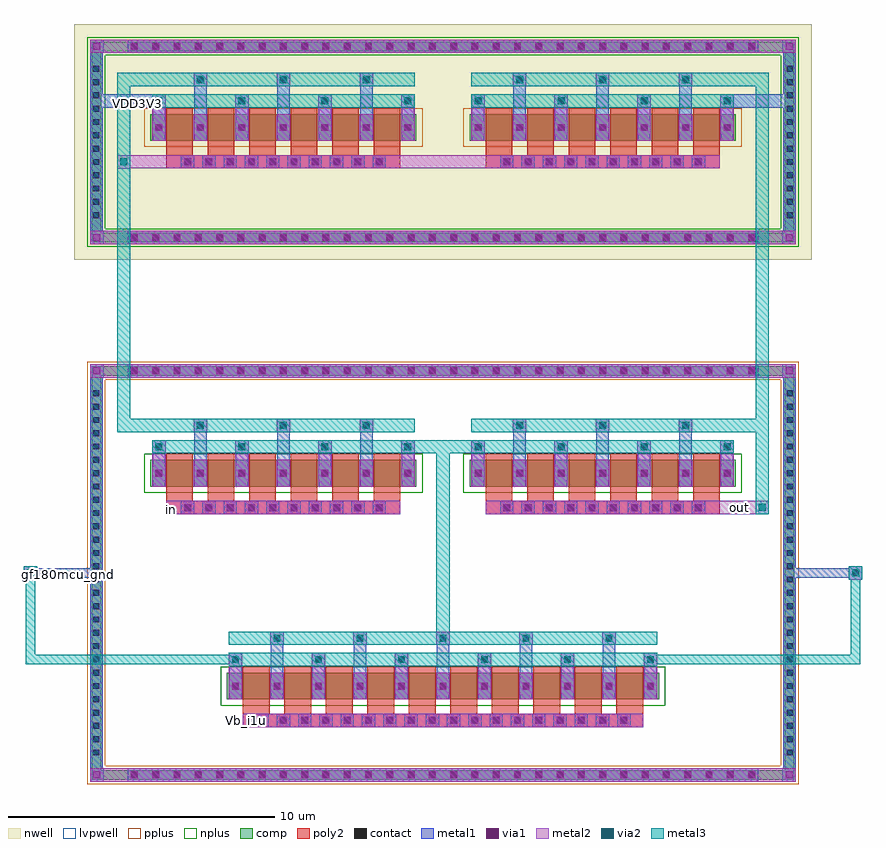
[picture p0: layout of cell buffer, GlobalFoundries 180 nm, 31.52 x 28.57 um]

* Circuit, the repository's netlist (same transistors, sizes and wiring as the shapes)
** sch_path: /foss/designs/core_pga/buffer/buffer.sch
.subckt buffer VDD3V3 gf180mcu_gnd in out Vb_i1u
*.PININFO out:O gf180mcu_gnd:B VDD3V3:B in:I Vb_i1u:B
M42 net1 net1 VDD3V3 VDD3V3 pfet_03v3 L=1u W=1u nf=1 m=6
M44 net1 in net2 gf180mcu_gnd nfet_03v3 L=1u W=1u nf=1 m=6
M46 net2 Vb_i1u gf180mcu_gnd gf180mcu_gnd nfet_03v3 L=1u W=1u nf=1 m=10
M1 out net1 VDD3V3 VDD3V3 pfet_03v3 L=1u W=1u nf=1 m=6
M2 out out net2 gf180mcu_gnd nfet_03v3 L=1u W=1u nf=1 m=6
.ends

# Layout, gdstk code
import gdstk
lib = gdstk.Library(unit=1e-6, precision=5e-09)
def R(c, l, rs):  # rectangles x0, y0, x1, y1
    for r in rs: c.add(gdstk.rectangle(r[:2], r[2:], *l))
def A(c, l, x, y, w, h, nx, ny, dx, dy):  # array of equal rectangles
    R(c, l, [(x+i*dx, y+j*dy, x+i*dx+w, y+j*dy+h) for i in range(nx) for j in range(ny)])
def P(c, l, *ps):  # polygons
    for p in ps: c.add(gdstk.Polygon(p, *l))
nwell = (21, 0)
comp = (22, 0)
poly2 = (30, 0)
pplus = (31, 0)
nplus = (32, 0)
contact = (33, 0)
metal1 = (34, 0)
via1 = (35, 0)
metal2 = (36, 0)
via2 = (38, 0)
metal3 = (42, 0)
lvpwell = (204, 0)

buffer = lib.new_cell('buffer')
R(buffer, nwell, [(-13.87,6.765,13.87,15.635), (-11.35,10.085,-0.65,13.915), (0.65,10.085,11.35,13.915)])
A(buffer, comp, -11.78, -12.775, 0.36, 0.36, 30, 2, 0.8, 15.19)
A(buffer, comp, -13.21, -11.93, 0.36, 0.36, 1, 28, 0, 0.5)
A(buffer, comp, 12.85, -11.93, 0.36, 0.36, 1, 28, 0, 0.5)
A(buffer, comp, -11.78, 7.425, 0.36, 0.36, 30, 2, 0.8, 7.19)
A(buffer, comp, -13.21, 8.27, 0.36, 0.36, 1, 12, 0, 0.5)
A(buffer, comp, 12.85, 8.27, 0.36, 0.36, 1, 12, 0, 0.5)
R(buffer, comp, [(-11.78,-12.775,11.78,-12.415), (-13.21,-11.93,-12.85,1.93), (12.85,-11.93,13.21,1.93), (-8.12,-9.755,8.12,-8.755), (-11,-1.755,-1,-0.755), (1,-1.755,11,-0.755), (-11.78,2.415,11.78,2.775), (-11.78,7.425,11.78,7.785), (-13.21,8.27,-12.85,14.13), (12.85,8.27,13.21,14.13), (-11,11.245,-1,12.245), (1,11.245,11,12.245), (-11.78,14.615,11.78,14.975)])
P(buffer, comp, [(-13.21,-12.775),(-13.21,-12.415),(-12.85,-12.415),(12.85,-12.415),(12.85,2.415),(-12.85,2.415),(-12.85,-12.415),(-13.21,-12.415),(-13.21,2.775),(13.21,2.775),(13.21,-12.775)],
  [(-13.21,7.425),(-13.21,7.785),(-12.85,7.785),(12.85,7.785),(12.85,14.615),(-12.85,14.615),(-12.85,7.785),(-13.21,7.785),(-13.21,14.975),(13.21,14.975),(13.21,7.425)])
A(buffer, poly2, -6.98, -10.725, 0.36, 0.36, 18, 1, 0.8, 0)
A(buffer, poly2, -7.52, -10.295, 1, 0.3, 10, 1, 1.56, 0)
A(buffer, poly2, -7.52, -9.995, 1, 1.48, 10, 1, 1.56, 0)
A(buffer, poly2, -9.78, -2.725, 0.36, 0.36, 10, 2, 0.8, 13)
A(buffer, poly2, 2.22, -2.725, 0.36, 0.36, 10, 2, 0.8, 13)
A(buffer, poly2, -10.4, -2.295, 1, 0.3, 6, 2, 1.56, 13)
A(buffer, poly2, 1.6, -2.295, 1, 0.3, 6, 2, 1.56, 13)
A(buffer, poly2, -10.4, -1.995, 1, 1.48, 6, 2, 1.56, 13)
A(buffer, poly2, 1.6, -1.995, 1, 1.48, 6, 2, 1.56, 13)
R(buffer, poly2, [(-7.52,-10.795,7.52,-10.295), (-10.4,-2.795,-1.6,-2.295), (1.6,-2.795,10.4,-2.295), (-10.4,10.205,-1.6,10.705), (1.6,10.205,10.4,10.705)])
R(buffer, pplus, [(-11.23,11.015,-0.77,12.475), (0.77,11.015,11.23,12.475)])
P(buffer, pplus, [(-13.37,-12.935),(-13.37,-12.255),(-12.69,-12.255),(12.69,-12.255),(12.69,2.255),(-12.69,2.255),(-12.69,-12.255),(-13.37,-12.255),(-13.37,2.935),(13.37,2.935),(13.37,-12.935)])
R(buffer, nplus, [(-8.35,-9.985,8.35,-8.525), (-11.23,-1.985,-0.77,-0.525), (0.77,-1.985,11.23,-0.525)])
P(buffer, nplus, [(-13.37,7.265),(-13.37,7.945),(-12.69,7.945),(12.69,7.945),(12.69,14.455),(-12.69,14.455),(-12.69,7.945),(-13.37,7.945),(-13.37,15.135),(13.37,15.135),(13.37,7.265)])
A(buffer, contact, -11.71, -12.705, 0.22, 0.22, 30, 2, 0.8, 15.19)
A(buffer, contact, -13.14, -11.86, 0.22, 0.22, 1, 28, 0, 0.5)
A(buffer, contact, 12.92, -11.86, 0.22, 0.22, 1, 28, 0, 0.5)
A(buffer, contact, -6.91, -10.655, 0.22, 0.22, 18, 1, 0.8, 0)
A(buffer, contact, -7.91, -9.365, 0.22, 0.22, 11, 1, 1.56, 0)
A(buffer, contact, -9.71, -2.655, 0.22, 0.22, 10, 2, 0.8, 13)
A(buffer, contact, 2.29, -2.655, 0.22, 0.22, 10, 2, 0.8, 13)
A(buffer, contact, -10.79, -1.365, 0.22, 0.22, 7, 2, 1.56, 13)
A(buffer, contact, 1.21, -1.365, 0.22, 0.22, 7, 2, 1.56, 13)
A(buffer, contact, -11.71, 7.495, 0.22, 0.22, 30, 2, 0.8, 7.19)
A(buffer, contact, -13.14, 8.34, 0.22, 0.22, 1, 12, 0, 0.5)
A(buffer, contact, 12.92, 8.34, 0.22, 0.22, 1, 12, 0, 0.5)
A(buffer, metal1, -11.85, -12.845, 0.5, 0.5, 30, 2, 0.8, 15.19)
A(buffer, metal1, -13.26, -11.98, 0.46, 0.46, 1, 28, 0, 0.5)
A(buffer, metal1, 12.8, -11.98, 0.46, 0.46, 1, 28, 0, 0.5)
A(buffer, metal1, -7.05, -10.795, 0.5, 0.5, 18, 1, 0.8, 0)
A(buffer, metal1, -8.03, -9.755, 0.46, 1, 11, 1, 1.56, 0)
A(buffer, metal1, -8.03, -9.485, 0.46, 0.46, 11, 1, 1.56, 0)
A(buffer, metal1, -8.03, -8.755, 0.46, 0.75, 6, 1, 3.12, 0)
A(buffer, metal1, -6.47, -8.755, 0.46, 1.55, 5, 1, 3.12, 0)
A(buffer, metal1, -8.05, -8.505, 0.5, 0.5, 6, 1, 3.12, 0)
A(buffer, metal1, -6.49, -7.705, 0.5, 0.5, 5, 1, 3.12, 0)
A(buffer, metal1, -9.85, -2.795, 0.5, 0.5, 10, 2, 0.8, 13)
A(buffer, metal1, 2.15, -2.795, 0.5, 0.5, 10, 2, 0.8, 13)
A(buffer, metal1, -10.91, -1.755, 0.46, 1, 7, 2, 1.56, 13)
A(buffer, metal1, 1.09, -1.755, 0.46, 1, 7, 2, 1.56, 13)
A(buffer, metal1, -10.91, -1.485, 0.46, 0.46, 7, 2, 1.56, 13)
A(buffer, metal1, 1.09, -1.485, 0.46, 0.46, 7, 2, 1.56, 13)
A(buffer, metal1, -10.91, -0.755, 0.46, 0.75, 4, 2, 3.12, 13)
A(buffer, metal1, -9.35, -0.755, 0.46, 1.55, 3, 2, 3.12, 13)
A(buffer, metal1, 1.09, -0.755, 0.46, 0.75, 4, 2, 3.12, 13)
A(buffer, metal1, 2.65, -0.755, 0.46, 1.55, 3, 2, 3.12, 13)
A(buffer, metal1, -10.93, -0.505, 0.5, 0.5, 4, 2, 3.12, 13)
A(buffer, metal1, 1.07, -0.505, 0.5, 0.5, 4, 2, 3.12, 13)
A(buffer, metal1, -9.37, 0.295, 0.5, 0.5, 3, 2, 3.12, 13)
A(buffer, metal1, 2.63, 0.295, 0.5, 0.5, 3, 2, 3.12, 13)
A(buffer, metal1, -11.85, 7.355, 0.5, 0.5, 30, 2, 0.8, 7.19)
A(buffer, metal1, -13.26, 8.22, 0.46, 0.46, 1, 12, 0, 0.5)
A(buffer, metal1, 12.8, 8.22, 0.46, 0.46, 1, 12, 0, 0.5)
R(buffer, metal1, [(-13.26,-12.845,-12.76,-12.345), (-13.26,-12.845,-12.76,-12.345), (-13.26,-12.845,-12.8,-12.415), (-11.85,-12.845,11.85,-12.345), (12.76,-12.845,13.26,-12.345), (12.76,-12.845,13.26,-12.345), (12.8,-12.845,13.26,-12.415), (-13.26,-12.415,-12.8,2.415), (12.8,-12.415,13.26,2.415), (-8.05,-9.505,-7.55,-9.005), (-8.05,-9.505,-7.55,-9.005), (-6.49,-9.505,-5.99,-9.005), (-6.49,-9.505,-5.99,-9.005), (-4.93,-9.505,-4.43,-9.005), (-4.93,-9.505,-4.43,-9.005), (-3.37,-9.505,-2.87,-9.005), (-3.37,-9.505,-2.87,-9.005), (-1.81,-9.505,-1.31,-9.005), (-1.81,-9.505,-1.31,-9.005), (-0.25,-9.505,0.25,-9.005), (-0.25,-9.505,0.25,-9.005), (1.31,-9.505,1.81,-9.005), (1.31,-9.505,1.81,-9.005), (2.87,-9.505,3.37,-9.005), (2.87,-9.505,3.37,-9.005), (4.43,-9.505,4.93,-9.005), (4.43,-9.505,4.93,-9.005), (5.99,-9.505,6.49,-9.005), (5.99,-9.505,6.49,-9.005), (7.55,-9.505,8.05,-9.005), (7.55,-9.505,8.05,-9.005), (-15.76,-5.25,-15.26,-4.75), (15.26,-5.25,15.76,-4.75), (-15.76,-5.175,-13.26,-4.825), (13.26,-5.175,15.76,-4.825), (-10.93,-1.505,-10.43,-1.005), (-10.93,-1.505,-10.43,-1.005), (-9.37,-1.505,-8.87,-1.005), (-9.37,-1.505,-8.87,-1.005), (-7.81,-1.505,-7.31,-1.005), (-7.81,-1.505,-7.31,-1.005), (-6.25,-1.505,-5.75,-1.005), (-6.25,-1.505,-5.75,-1.005), (-4.69,-1.505,-4.19,-1.005), (-4.69,-1.505,-4.19,-1.005), (-3.13,-1.505,-2.63,-1.005), (-3.13,-1.505,-2.63,-1.005), (-1.57,-1.505,-1.07,-1.005), (-1.57,-1.505,-1.07,-1.005), (1.07,-1.505,1.57,-1.005), (1.07,-1.505,1.57,-1.005), (2.63,-1.505,3.13,-1.005), (2.63,-1.505,3.13,-1.005), (4.19,-1.505,4.69,-1.005), (4.19,-1.505,4.69,-1.005), (5.75,-1.505,6.25,-1.005), (5.75,-1.505,6.25,-1.005), (7.31,-1.505,7.81,-1.005), (7.31,-1.505,7.81,-1.005), (8.87,-1.505,9.37,-1.005), (8.87,-1.505,9.37,-1.005), (10.43,-1.505,10.93,-1.005), (10.43,-1.505,10.93,-1.005), (-13.26,2.345,-12.76,2.845), (-13.26,2.345,-12.76,2.845), (-11.85,2.345,11.85,2.845), (12.76,2.345,13.26,2.845), (12.76,2.345,13.26,2.845), (-13.26,2.415,-12.8,2.845), (12.8,2.415,13.26,2.845), (-13.26,7.355,-12.76,7.855), (-13.26,7.355,-12.76,7.855), (-13.26,7.355,-12.8,7.785), (-11.85,7.355,11.85,7.855), (12.76,7.355,13.26,7.855), (12.76,7.355,13.26,7.855), (12.8,7.355,13.26,7.785), (-13.26,7.785,-12.8,14.615), (12.8,7.785,13.26,14.615), (-10.93,11.495,-10.43,11.995), (-10.93,11.495,-10.43,11.995), (-9.37,11.495,-8.87,11.995), (-9.37,11.495,-8.87,11.995), (-7.81,11.495,-7.31,11.995), (-7.81,11.495,-7.31,11.995), (-6.25,11.495,-5.75,11.995), (-6.25,11.495,-5.75,11.995), (-4.69,11.495,-4.19,11.995), (-4.69,11.495,-4.19,11.995), (-3.13,11.495,-2.63,11.995), (-3.13,11.495,-2.63,11.995), (-1.57,11.495,-1.07,11.995), (-1.57,11.495,-1.07,11.995), (1.07,11.495,1.57,11.995), (1.07,11.495,1.57,11.995), (2.63,11.495,3.13,11.995), (2.63,11.495,3.13,11.995), (4.19,11.495,4.69,11.995), (4.19,11.495,4.69,11.995), (5.75,11.495,6.25,11.995), (5.75,11.495,6.25,11.995), (7.31,11.495,7.81,11.995), (7.31,11.495,7.81,11.995), (8.87,11.495,9.37,11.995), (8.87,11.495,9.37,11.995), (10.43,11.495,10.93,11.995), (10.43,11.495,10.93,11.995), (-13.26,12.495,-10.42,12.995), (10.93,12.495,13.26,12.995), (-13.26,14.545,-12.76,15.045), (-13.26,14.545,-12.76,15.045), (-11.85,14.545,11.85,15.045), (12.76,14.545,13.26,15.045), (12.76,14.545,13.26,15.045), (-13.26,14.615,-12.8,15.045), (12.8,14.615,13.26,15.045)])
A(buffer, via1, -11.73, -12.725, 0.26, 0.26, 30, 2, 0.8, 15.19)
A(buffer, via1, -6.93, -10.675, 0.26, 0.26, 18, 1, 0.8, 0)
A(buffer, via1, -7.93, -9.385, 0.26, 0.26, 11, 1, 1.56, 0)
A(buffer, via1, -7.93, -8.385, 0.26, 0.26, 6, 1, 3.12, 0)
A(buffer, via1, -6.37, -7.585, 0.26, 0.26, 5, 1, 3.12, 0)
A(buffer, via1, -9.73, -2.675, 0.26, 0.26, 10, 2, 0.8, 13)
A(buffer, via1, 2.27, -2.675, 0.26, 0.26, 10, 2, 0.8, 13)
A(buffer, via1, -10.81, -1.385, 0.26, 0.26, 7, 2, 1.56, 13)
A(buffer, via1, 1.19, -1.385, 0.26, 0.26, 7, 2, 1.56, 13)
A(buffer, via1, -10.81, -0.385, 0.26, 0.26, 4, 2, 3.12, 13)
A(buffer, via1, 1.19, -0.385, 0.26, 0.26, 4, 2, 3.12, 13)
A(buffer, via1, -9.25, 0.415, 0.26, 0.26, 3, 2, 3.12, 13)
A(buffer, via1, 2.75, 0.415, 0.26, 0.26, 3, 2, 3.12, 13)
A(buffer, via1, -11.73, 7.475, 0.26, 0.26, 30, 2, 0.8, 7.19)
R(buffer, via1, [(-13.14,-12.725,-12.88,-12.465), (12.88,-12.725,13.14,-12.465), (-15.64,-5.13,-15.38,-4.87), (15.38,-5.13,15.64,-4.87), (-13.14,2.465,-12.88,2.725), (12.88,2.465,13.14,2.725), (-13.14,7.475,-12.88,7.735), (12.88,7.475,13.14,7.735), (-13.14,14.665,-12.88,14.925), (12.88,14.665,13.14,14.925)])
A(buffer, metal2, -11.85, -12.845, 0.5, 0.5, 30, 2, 0.8, 15.19)
A(buffer, metal2, -7.05, -10.795, 0.5, 0.5, 18, 1, 0.8, 0)
A(buffer, metal2, -8.05, -9.755, 0.5, 1, 11, 1, 1.56, 0)
A(buffer, metal2, -8.05, -9.755, 0.5, 1.75, 6, 1, 3.12, 0)
A(buffer, metal2, -8.05, -9.505, 0.5, 0.5, 11, 1, 1.56, 0)
A(buffer, metal2, -8.05, -8.505, 0.5, 0.5, 6, 1, 3.12, 0)
A(buffer, metal2, -6.49, -7.705, 0.5, 0.5, 5, 1, 3.12, 0)
A(buffer, metal2, -9.85, -2.795, 0.5, 0.5, 10, 2, 0.8, 13)
A(buffer, metal2, 2.15, -2.795, 0.5, 0.5, 10, 2, 0.8, 13)
A(buffer, metal2, -10.93, -1.755, 0.5, 1, 7, 2, 1.56, 13)
A(buffer, metal2, -10.93, -1.755, 0.5, 1.75, 4, 2, 3.12, 13)
A(buffer, metal2, 1.07, -1.755, 0.5, 1, 7, 2, 1.56, 13)
A(buffer, metal2, 1.07, -1.755, 0.5, 1.75, 4, 2, 3.12, 13)
A(buffer, metal2, -10.93, -1.505, 0.5, 0.5, 7, 2, 1.56, 13)
A(buffer, metal2, 1.07, -1.505, 0.5, 0.5, 7, 2, 1.56, 13)
A(buffer, metal2, -10.93, -0.505, 0.5, 0.5, 4, 2, 3.12, 13)
A(buffer, metal2, 1.07, -0.505, 0.5, 0.5, 4, 2, 3.12, 13)
A(buffer, metal2, -9.37, 0.295, 0.5, 0.5, 3, 2, 3.12, 13)
A(buffer, metal2, 2.63, 0.295, 0.5, 0.5, 3, 2, 3.12, 13)
A(buffer, metal2, -11.85, 7.355, 0.5, 0.5, 30, 2, 0.8, 7.19)
R(buffer, metal2, [(-13.26,-12.845,-12.76,-12.345), (-13.26,-12.845,-12.76,-12.345), (-13.26,-12.845,-12.85,-12.345), (-12.85,-12.845,12.85,-12.345), (12.76,-12.845,13.26,-12.345), (12.76,-12.845,13.26,-12.345), (12.85,-12.845,13.26,-12.345), (-7.52,-10.795,7.52,-10.295), (-15.76,-5.25,-15.26,-4.75), (15.26,-5.25,15.76,-4.75), (-10.4,-2.795,-1.6,-2.295), (1.6,-2.795,10.4,-2.295), (10.4,-2.795,12.25,-2.295), (11.75,-2.795,12.25,-2.295), (-13.26,2.345,-12.76,2.845), (-13.26,2.345,-12.76,2.845), (-13.26,2.345,-12.85,2.845), (-12.85,2.345,12.85,2.845), (12.76,2.345,13.26,2.845), (12.76,2.345,13.26,2.845), (12.85,2.345,13.26,2.845), (-13.26,7.355,-12.76,7.855), (-13.26,7.355,-12.76,7.855), (-13.26,7.355,-12.85,7.855), (-12.85,7.355,12.85,7.855), (12.76,7.355,13.26,7.855), (12.76,7.355,13.26,7.855), (12.85,7.355,13.26,7.855), (-12.25,10.2,-11.75,10.7), (-12.25,10.205,-10.4,10.705), (-10.4,10.205,-1.6,10.705), (-1.6,10.205,1.6,10.705), (1.6,10.205,10.4,10.705), (-13.26,14.545,-12.76,15.045), (-13.26,14.545,-12.76,15.045), (-13.26,14.545,-12.85,15.045), (-12.85,14.545,12.85,15.045), (12.76,14.545,13.26,15.045), (12.76,14.545,13.26,15.045), (12.85,14.545,13.26,15.045)])
A(buffer, via2, -7.93, -8.385, 0.26, 0.26, 6, 1, 3.12, 0)
A(buffer, via2, -6.37, -7.585, 0.26, 0.26, 5, 1, 3.12, 0)
A(buffer, via2, -10.81, -0.385, 0.26, 0.26, 4, 2, 3.12, 13)
A(buffer, via2, 1.19, -0.385, 0.26, 0.26, 4, 2, 3.12, 13)
A(buffer, via2, -9.25, 0.415, 0.26, 0.26, 3, 2, 3.12, 13)
A(buffer, via2, 2.75, 0.415, 0.26, 0.26, 3, 2, 3.12, 13)
R(buffer, via2, [(-15.64,-5.13,-15.38,-4.87), (15.38,-5.13,15.64,-4.87), (11.87,-2.66,12.13,-2.4), (-12.13,10.32,-11.87,10.58)])
A(buffer, metal3, -8.05, -8.505, 0.5, 0.5, 6, 1, 3.12, 0)
A(buffer, metal3, -6.49, -7.705, 0.5, 0.5, 5, 1, 3.12, 0)
A(buffer, metal3, -10.93, -0.505, 0.5, 0.5, 4, 2, 3.12, 13)
A(buffer, metal3, 1.07, -0.505, 0.5, 0.5, 4, 2, 3.12, 13)
A(buffer, metal3, -9.37, 0.295, 0.5, 0.5, 3, 2, 3.12, 13)
A(buffer, metal3, 2.63, 0.295, 0.5, 0.5, 3, 2, 3.12, 13)
R(buffer, metal3, [(-8.05,-8.505,8.05,-8.005), (-15.685,-8.43,-8.05,-8.08), (-15.685,-8.43,-15.335,-4.75), (8.05,-8.43,15.685,-8.08), (15.335,-8.43,15.685,-4.75), (-8.05,-7.705,8.05,-7.205), (-0.25,-7.705,0.25,-0.005), (-15.76,-5.25,-15.26,-4.75), (-15.335,-5.25,-15.26,-4.75), (15.26,-5.25,15.76,-4.75), (15.685,-5.25,15.76,-4.75), (11.75,-2.795,12.25,-2.295), (11.75,-2.795,12.25,-0.08), (11.75,-2.795,12.25,13.795), (11.75,-2.795,12.25,0.795), (-10.93,-0.505,-10.43,-0.005), (-10.93,-0.505,-1.07,-0.005), (-1.57,-0.505,1.58,-0.005), (1.07,-0.505,10.93,-0.005), (-12.25,0.295,-1.07,0.795), (-12.25,0.295,-11.75,13.795), (1.07,0.295,10.93,0.795), (10.93,0.295,12.25,0.795), (-12.25,10.2,-11.75,10.7), (-10.93,12.495,-1.07,12.995), (1.07,12.495,10.93,12.995), (-12.25,13.295,-1.07,13.795), (1.07,13.295,12.25,13.795)])
R(buffer, lvpwell, [(-13.37,-12.935,13.37,2.935)])
buffer.add(gdstk.Label('VDD3V3', (-11.5,12.65), layer=34, texttype=10))
buffer.add(gdstk.Label('gf180mcu_gnd', (-14.08,-5.06), layer=34, texttype=10))
buffer.add(gdstk.Label('Vb_i1u', (-7.4,-10.55), layer=36, texttype=10))
buffer.add(gdstk.Label('in', (-10.19,-2.63), layer=36, texttype=10))
buffer.add(gdstk.Label('out', (11.14,-2.54), layer=36, texttype=10))

lib.write_gds('buffer.gds')
